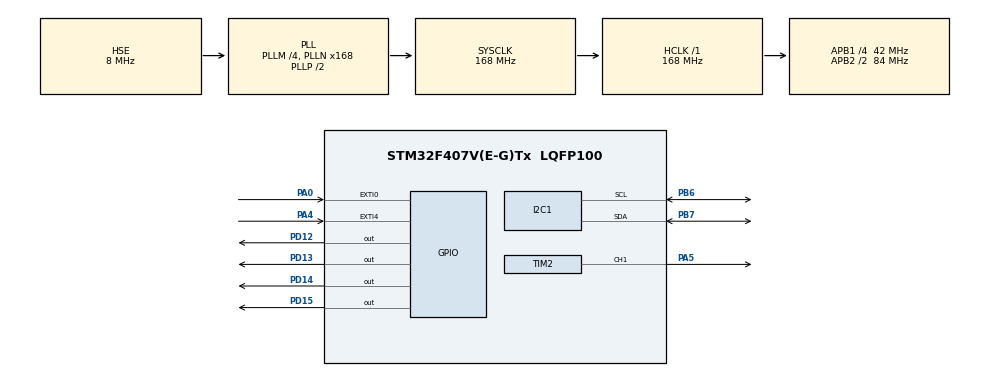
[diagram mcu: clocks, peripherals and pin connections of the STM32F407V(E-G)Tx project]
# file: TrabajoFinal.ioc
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I2C1.I2C_Mode=I2C_Fast
Mcu.Family=STM32F4
Mcu.Name=STM32F407V(E-G)Tx
Mcu.Package=LQFP100
NVIC.EXTI0_IRQn=true\:0\:0\:false\:false\:true\:true\:true
NVIC.EXTI4_IRQn=true\:0\:0\:false\:false\:true\:true\:true
NVIC.PriorityGroup=NVIC_PRIORITYGROUP_0
NVIC.TIM4_IRQn=true\:0\:0\:false\:false\:true\:true\:true
PA0-WKUP.Signal=GPXTI0
PA13.Mode=Serial_Wire
PA13.Signal=SYS_JTMS-SWDIO
PA14.Mode=Serial_Wire
PA14.Signal=SYS_JTCK-SWCLK
PA4.Signal=GPXTI4
PA5.Signal=S_TIM2_CH1_ETR
PB6.Mode=I2C
PB6.Signal=I2C1_SCL
PB7.Mode=I2C
PB7.Signal=I2C1_SDA
PD12.Signal=GPIO_Output
PD13.Signal=GPIO_Output
PD14.Signal=GPIO_Output
PD15.Signal=GPIO_Output
PH0-OSC_IN.Mode=HSE-External-Oscillator
PH0-OSC_IN.Signal=RCC_OSC_IN
PH1-OSC_OUT.Mode=HSE-External-Oscillator
PH1-OSC_OUT.Signal=RCC_OSC_OUT
ProjectManager.HeapSize=0x200
ProjectManager.StackSize=0x400
ProjectManager.TargetToolchain=STM32CubeIDE
RCC.48MHZClocksFreq_Value=48000000
RCC.AHBFreq_Value=168000000
RCC.APB1CLKDivider=RCC_HCLK_DIV4
RCC.APB1Freq_Value=42000000
RCC.APB1TimFreq_Value=84000000
RCC.APB2CLKDivider=RCC_HCLK_DIV2
RCC.APB2Freq_Value=84000000
RCC.APB2TimFreq_Value=168000000
RCC.CortexFreq_Value=168000000
RCC.HCLKFreq_Value=168000000
RCC.HSE_VALUE=8000000
RCC.HSI_VALUE=16000000
RCC.LSE_VALUE=32768
RCC.PLLM=4
RCC.PLLN=168
RCC.PLLQ=7
RCC.PLLSourceVirtual=RCC_PLLSOURCE_HSE
RCC.SYSCLKFreq_VALUE=168000000
RCC.SYSCLKSource=RCC_SYSCLKSOURCE_PLLCLK
RCC.VCOOutputFreq_Value=336000000
SH.S_TIM2_CH1_ETR.0=TIM2_CH1,PWM Generation1 CH1
TIM2.Channel-PWM\ Generation1\ CH1=TIM_CHANNEL_1
TIM2.Period=255
TIM2.Prescaler=645-1
TIM4.Period=10000
TIM4.Prescaler=32000
VP_TIM2_VS_ClockSourceINT.Mode=Internal
VP_TIM4_VS_ClockSourceINT.Mode=Internal
board=STM32F407G-DISC1

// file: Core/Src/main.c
/* USER CODE BEGIN Header */
/**
  ******************************************************************************
  * @file           : main.c
  * @brief          : Main program body
  ******************************************************************************
  * @attention
  *
  * <h2><center>&copy; Copyright (c) 2021 STMicroelectronics.
  * All rights reserved.</center></h2>
  *
  * This software component is licensed by ST under Ultimate Liberty license
  * SLA0044, the "License"; You may not use this file except in compliance with
  * the License. You may obtain a copy of the License at:
  *                             www.st.com/SLA0044
  *
  ******************************************************************************
  */
/* USER CODE END Header */
#include "main.h"
#include "ssd1306.h"
#include "fonts.h"
#include "BMP180.h"
#include "stdio.h"

I2C_HandleTypeDef hi2c1;

TIM_HandleTypeDef htim2;
TIM_HandleTypeDef htim4;

void SystemClock_Config(void);
static void MX_GPIO_Init(void);
static void MX_TIM4_Init(void);
static void MX_I2C1_Init(void);
static void MX_TIM2_Init(void);

/* USER CODE BEGIN 0 */

float Temperatura = 0;
float Presion = 0;
float Altitud = 0;

char Temperatura1[10];
char Presion1[10];
char Altitud1[10];

volatile int button_int=0;
volatile int presencia=0;
volatile int firsttime=0;

uint8_t value =0;

void HAL_GPIO_EXTI_Callback(uint16_t GPIO_Pin){

	if (GPIO_Pin == GPIO_PIN_4){
		presencia = 1;
		display_intruso();
		HAL_GPIO_WritePin(GPIOD, GPIO_PIN_14,1);
		HAL_GPIO_WritePin(GPIOD, GPIO_PIN_12, 0);
		buzzer_on();
		TIM4->CNT = 0;
		HAL_TIM_Base_Start_IT(&htim4);

		/*TIM2 -> CNT = 0;
		HAL_TIM_Base_Start_IT(&htim2);*/
	}

	if (GPIO_Pin==GPIO_PIN_0){
		button_int=1;
	}

}

void HAL_TIM_PeriodElapsedCallback(TIM_HandleTypeDef *htim){

	if (htim == &htim4){

		if (firsttime==1){
			HAL_GPIO_WritePin(GPIOD, GPIO_PIN_14,0);
			presencia = 0;
			display_titulo();
			HAL_TIM_Base_Stop_IT(&htim4);
		}

		firsttime=1;
	}

	/*if (htim == &htim2){
		HAL_GPIO_WritePin(GPIOD, GPIO_PIN_14,1);
		HAL_Delay(250);
		HAL_GPIO_WritePin(GPIOD, GPIO_PIN_14,0);
		HAL_TIM_Base_Stop_IT(&htim2);
	}*/
}

int debouncer(volatile int* button_int, GPIO_TypeDef* GPIO_port, uint16_t GPIO_number){
	static uint8_t button_count=0;
	static int counter=0;

	if (*button_int==1){
		if (button_count==0) {
			counter=HAL_GetTick();
			button_count++;
		}
		if (HAL_GetTick()-counter>=20){
			counter=HAL_GetTick();
			if (HAL_GPIO_ReadPin(GPIO_port, GPIO_number)!=1){
				button_count=1;
			}
			else{
				button_count++;
			}
			if (button_count==4){ //Periodo antirebotes
				button_count=0;
				*button_int=0;
				return 1;
			}
		}
	}
	return 0;
}

void display_titulo(void){
	SSD1306_Clear();
	SSD1306_DrawRectangle(0, 0, 128, 64, 1);
	SSD1306_GotoXY (27,15);
	SSD1306_Puts ("MONITOR", &Font_11x18, 1);
	SSD1306_GotoXY (17, 35);
	SSD1306_Puts ("CLIMATICO", &Font_11x18, 1);
	SSD1306_UpdateScreen();
}

void display_intruso(void){
	SSD1306_Clear();
	SSD1306_DrawRectangle(0, 0, 128, 64, 1);
	SSD1306_DrawRectangle(5, 5, 118, 54, 1);
	SSD1306_GotoXY (20,15);
	SSD1306_Puts ("!INTRUSO!", &Font_11x18, 1);
	SSD1306_GotoXY (30, 35);
	SSD1306_Puts ("CUIDADO", &Font_11x18, 1);
	SSD1306_UpdateScreen();
}

void get_info (void){
	Temperatura = BMP180_GetTemp();
	Presion = BMP180_GetPress (0);
	Altitud= BMP180_GetAlt(0);
}

void display_info (void){

	get_info();

	SSD1306_Clear();
	SSD1306_GotoXY (35,0);
	SSD1306_Puts ("BMP180", &Font_11x18, 1);
	SSD1306_GotoXY (0,0);
	SSD1306_Puts ("Temperatura", &Font_11x18, 1);
	SSD1306_GotoXY (20,40);
	sprintf(Temperatura1, "%.2f", Temperatura);
	SSD1306_Puts(Temperatura1, &Font_11x18, 1);
	SSD1306_DrawCircle(80, 40, 2, 1);  //To print degree only
	SSD1306_GotoXY (85,40);  //To print celcius
	SSD1306_Puts ("C", &Font_11x18, 1);
	SSD1306_UpdateScreen(); //display

	HAL_Delay(2000);

	SSD1306_Clear();
	SSD1306_GotoXY (20,0);
	SSD1306_Puts ("Presion", &Font_11x18, 1);
	SSD1306_GotoXY (10,40);
	sprintf(Presion1, "%.2f", Presion);
	SSD1306_Puts(Presion1, &Font_11x18, 1);
	SSD1306_GotoXY (100,40);
	SSD1306_Puts ("pa", &Font_11x18, 1);
	SSD1306_UpdateScreen(); //display

	HAL_Delay(2000);

	SSD1306_Clear();
	SSD1306_GotoXY (20,0);
	SSD1306_Puts ("Altitud", &Font_11x18, 1);
	SSD1306_GotoXY (15,40);
	sprintf(Altitud1, "%.2f", Altitud);
	SSD1306_Puts(Altitud1, &Font_11x18, 1);
	SSD1306_GotoXY (90,40);
	SSD1306_Puts ("m", &Font_11x18, 1);
	SSD1306_UpdateScreen(); //display

	HAL_Delay(2000);
	SSD1306_Clear();
	HAL_GPIO_WritePin(GPIOD, GPIO_PIN_15, 0);

	display_titulo();
}

void buzzer_on (void){
	htim2.Instance -> CCR1 =2;
}

void buzzer_off (void){
	htim2.Instance -> CCR1 =0;
}

/* USER CODE END 0 */

int main(void)
{

  /* MCU Configuration--------------------------------------------------------*/

  /* Reset of all peripherals, Initializes the Flash interface and the Systick. */
  HAL_Init();

  /* Configure the system clock */
  SystemClock_Config();

  /* Initialize all configured peripherals */
  MX_GPIO_Init();
  MX_TIM4_Init();
  MX_I2C1_Init();
  MX_TIM2_Init();
  /* USER CODE BEGIN 2 */
  SSD1306_Init (); // initialize the display
  BMP180_Start();
  display_titulo();

  HAL_TIM_PWM_Start (&htim2, TIM_CHANNEL_1);
  /* USER CODE END 2 */

  /* Infinite loop */
  while (1)
    {

    /* USER CODE BEGIN 3 */
	  value = 0; // reset the value

		if (presencia){
		  HAL_GPIO_WritePin(GPIOD, GPIO_PIN_14,1);
		  HAL_GPIO_WritePin(GPIOD, GPIO_PIN_12, 0);
		  buzzer_on();

		}
		else {
			HAL_GPIO_WritePin(GPIOD, GPIO_PIN_12, 1);
			HAL_GPIO_WritePin(GPIOD, GPIO_PIN_14, 0);
			buzzer_off();

			if (debouncer(&button_int, GPIOA, GPIO_PIN_0)){
				HAL_GPIO_WritePin(GPIOD, GPIO_PIN_15, 1);
				display_info();
			}

		 }
    }
  /* USER CODE END 3 */
}

void SystemClock_Config(void)
{
  RCC_OscInitTypeDef RCC_OscInitStruct = {0};
  RCC_ClkInitTypeDef RCC_ClkInitStruct = {0};

  /** Configure the main internal regulator output voltage
  */
  __HAL_RCC_PWR_CLK_ENABLE();
  __HAL_PWR_VOLTAGESCALING_CONFIG(PWR_REGULATOR_VOLTAGE_SCALE1);
  /** Initializes the RCC Oscillators according to the specified parameters
  * in the RCC_OscInitTypeDef structure.
  */
  RCC_OscInitStruct.OscillatorType = RCC_OSCILLATORTYPE_HSE;
  RCC_OscInitStruct.HSEState = RCC_HSE_ON;
  RCC_OscInitStruct.PLL.PLLState = RCC_PLL_ON;
  RCC_OscInitStruct.PLL.PLLSource = RCC_PLLSOURCE_HSE;
  RCC_OscInitStruct.PLL.PLLM = 4;
  RCC_OscInitStruct.PLL.PLLN = 168;
  RCC_OscInitStruct.PLL.PLLP = RCC_PLLP_DIV2;
  RCC_OscInitStruct.PLL.PLLQ = 7;
  if (HAL_RCC_OscConfig(&RCC_OscInitStruct) != HAL_OK)
  {
    Error_Handler();
  }
  /** Initializes the CPU, AHB and APB buses clocks
  */
  RCC_ClkInitStruct.ClockType = RCC_CLOCKTYPE_HCLK|RCC_CLOCKTYPE_SYSCLK
                              |RCC_CLOCKTYPE_PCLK1|RCC_CLOCKTYPE_PCLK2;
  RCC_ClkInitStruct.SYSCLKSource = RCC_SYSCLKSOURCE_PLLCLK;
  RCC_ClkInitStruct.AHBCLKDivider = RCC_SYSCLK_DIV1;
  RCC_ClkInitStruct.APB1CLKDivider = RCC_HCLK_DIV4;
  RCC_ClkInitStruct.APB2CLKDivider = RCC_HCLK_DIV2;

  if (HAL_RCC_ClockConfig(&RCC_ClkInitStruct, FLASH_LATENCY_5) != HAL_OK)
  {
    Error_Handler();
  }
}

static void MX_I2C1_Init(void)
{

  hi2c1.Instance = I2C1;
  hi2c1.Init.ClockSpeed = 400000;
  hi2c1.Init.DutyCycle = I2C_DUTYCYCLE_2;
  hi2c1.Init.OwnAddress1 = 0;
  hi2c1.Init.AddressingMode = I2C_ADDRESSINGMODE_7BIT;
  hi2c1.Init.DualAddressMode = I2C_DUALADDRESS_DISABLE;
  hi2c1.Init.OwnAddress2 = 0;
  hi2c1.Init.GeneralCallMode = I2C_GENERALCALL_DISABLE;
  hi2c1.Init.NoStretchMode = I2C_NOSTRETCH_DISABLE;
  if (HAL_I2C_Init(&hi2c1) != HAL_OK)
  {
    Error_Handler();
  }

}

static void MX_TIM2_Init(void)
{

  TIM_ClockConfigTypeDef sClockSourceConfig = {0};
  TIM_MasterConfigTypeDef sMasterConfig = {0};
  TIM_OC_InitTypeDef sConfigOC = {0};

  htim2.Instance = TIM2;
  htim2.Init.Prescaler = 645-1;
  htim2.Init.CounterMode = TIM_COUNTERMODE_UP;
  htim2.Init.Period = 255;
  htim2.Init.ClockDivision = TIM_CLOCKDIVISION_DIV1;
  htim2.Init.AutoReloadPreload = TIM_AUTORELOAD_PRELOAD_DISABLE;
  if (HAL_TIM_Base_Init(&htim2) != HAL_OK)
  {
    Error_Handler();
  }
  sClockSourceConfig.ClockSource = TIM_CLOCKSOURCE_INTERNAL;
  if (HAL_TIM_ConfigClockSource(&htim2, &sClockSourceConfig) != HAL_OK)
  {
    Error_Handler();
  }
  if (HAL_TIM_PWM_Init(&htim2) != HAL_OK)
  {
    Error_Handler();
  }
  sMasterConfig.MasterOutputTrigger = TIM_TRGO_RESET;
  sMasterConfig.MasterSlaveMode = TIM_MASTERSLAVEMODE_DISABLE;
  if (HAL_TIMEx_MasterConfigSynchronization(&htim2, &sMasterConfig) != HAL_OK)
  {
    Error_Handler();
  }
  sConfigOC.OCMode = TIM_OCMODE_PWM1;
  sConfigOC.Pulse = 0;
  sConfigOC.OCPolarity = TIM_OCPOLARITY_HIGH;
  sConfigOC.OCFastMode = TIM_OCFAST_DISABLE;
  if (HAL_TIM_PWM_ConfigChannel(&htim2, &sConfigOC, TIM_CHANNEL_1) != HAL_OK)
  {
    Error_Handler();
  }
  HAL_TIM_MspPostInit(&htim2);

}

static void MX_TIM4_Init(void)
{

  TIM_ClockConfigTypeDef sClockSourceConfig = {0};
  TIM_MasterConfigTypeDef sMasterConfig = {0};

  htim4.Instance = TIM4;
  htim4.Init.Prescaler = 32000;
  htim4.Init.CounterMode = TIM_COUNTERMODE_UP;
  htim4.Init.Period = 10000;
  htim4.Init.ClockDivision = TIM_CLOCKDIVISION_DIV1;
  htim4.Init.AutoReloadPreload = TIM_AUTORELOAD_PRELOAD_DISABLE;
  if (HAL_TIM_Base_Init(&htim4) != HAL_OK)
  {
    Error_Handler();
  }
  sClockSourceConfig.ClockSource = TIM_CLOCKSOURCE_INTERNAL;
  if (HAL_TIM_ConfigClockSource(&htim4, &sClockSourceConfig) != HAL_OK)
  {
    Error_Handler();
  }
  sMasterConfig.MasterOutputTrigger = TIM_TRGO_RESET;
  sMasterConfig.MasterSlaveMode = TIM_MASTERSLAVEMODE_DISABLE;
  if (HAL_TIMEx_MasterConfigSynchronization(&htim4, &sMasterConfig) != HAL_OK)
  {
    Error_Handler();
  }

}

static void MX_GPIO_Init(void)
{
  GPIO_InitTypeDef GPIO_InitStruct = {0};

  /* GPIO Ports Clock Enable */
  __HAL_RCC_GPIOH_CLK_ENABLE();
  __HAL_RCC_GPIOA_CLK_ENABLE();
  __HAL_RCC_GPIOD_CLK_ENABLE();
  __HAL_RCC_GPIOB_CLK_ENABLE();

  /*Configure GPIO pin Output Level */
  HAL_GPIO_WritePin(GPIOD, GPIO_PIN_12|GPIO_PIN_13|GPIO_PIN_14|GPIO_PIN_15, GPIO_PIN_RESET);

  /*Configure GPIO pins : PA0 PA4 */
  GPIO_InitStruct.Pin = GPIO_PIN_0|GPIO_PIN_4;
  GPIO_InitStruct.Mode = GPIO_MODE_IT_RISING;
  GPIO_InitStruct.Pull = GPIO_NOPULL;
  HAL_GPIO_Init(GPIOA, &GPIO_InitStruct);

  /*Configure GPIO pins : PD12 PD13 PD14 PD15 */
  GPIO_InitStruct.Pin = GPIO_PIN_12|GPIO_PIN_13|GPIO_PIN_14|GPIO_PIN_15;
  GPIO_InitStruct.Mode = GPIO_MODE_OUTPUT_PP;
  GPIO_InitStruct.Pull = GPIO_NOPULL;
  GPIO_InitStruct.Speed = GPIO_SPEED_FREQ_LOW;
  HAL_GPIO_Init(GPIOD, &GPIO_InitStruct);

  /* EXTI interrupt init*/
  HAL_NVIC_SetPriority(EXTI0_IRQn, 0, 0);
  HAL_NVIC_EnableIRQ(EXTI0_IRQn);

  HAL_NVIC_SetPriority(EXTI4_IRQn, 0, 0);
  HAL_NVIC_EnableIRQ(EXTI4_IRQn);

}

void Error_Handler(void)
{
  __disable_irq();
  while (1)
  {
  }
}

/************************ (C) COPYRIGHT STMicroelectronics *****END OF FILE****/
